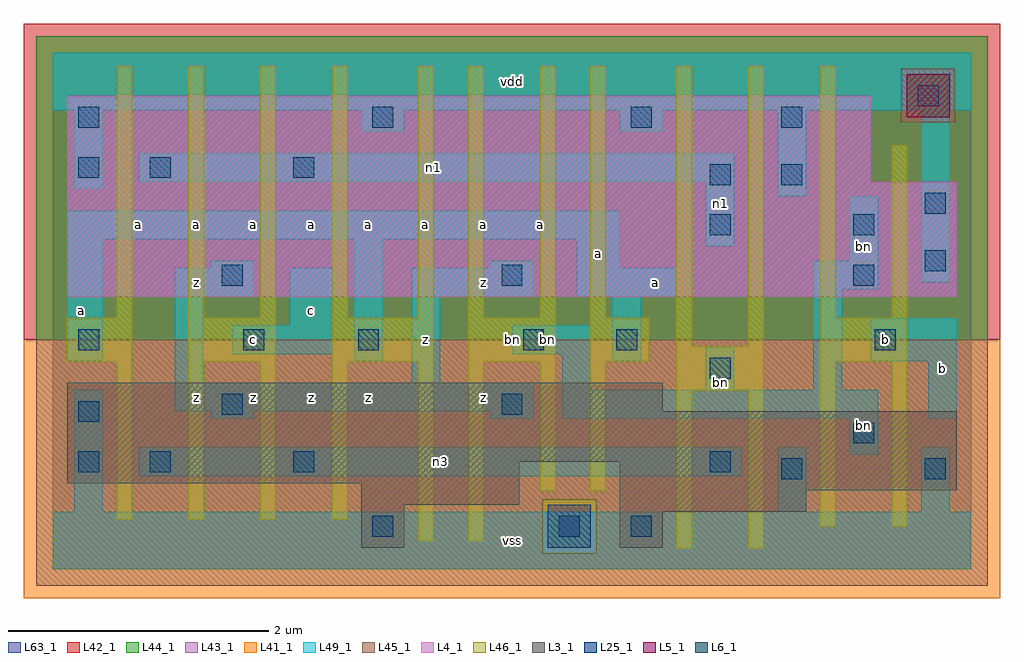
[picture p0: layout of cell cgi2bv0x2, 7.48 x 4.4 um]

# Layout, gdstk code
import gdstk
lib = gdstk.Library(unit=1e-6, precision=1e-09)
def R(c, l, rs):  # rectangles x0, y0, x1, y1
    for r in rs: c.add(gdstk.rectangle(r[:2], r[2:], *l))
def A(c, l, x, y, w, h, nx, ny, dx, dy):  # array of equal rectangles
    R(c, l, [(x+i*dx, y+j*dy, x+i*dx+w, y+j*dy+h) for i in range(nx) for j in range(ny)])
L3_1 = (3, 1)
L4_1 = (4, 1)
L5_1 = (5, 1)
L6_1 = (6, 1)
L25_1 = (25, 1)
L41_1 = (41, 1)
L42_1 = (42, 1)
L43_1 = (43, 1)
L44_1 = (44, 1)
L45_1 = (45, 1)
L46_1 = (46, 1)
L49_1 = (49, 1)
L63_1 = (63, 1)

cgi2bv0x2 = lib.new_cell('cgi2bv0x2')
R(cgi2bv0x2, L3_1, [(2.365,0.165,2.695,0.495), (4.345,0.165,4.675,0.44), (4.345,0.44,5.775,0.605), (2.365,0.495,3.575,0.66), (4.345,0.605,6.93,0.825), (0.11,0.66,3.575,0.825), (0.11,0.825,6.93,1.21), (0.11,1.21,4.675,1.43)])
R(cgi2bv0x2, L4_1, [(0.11,2.09,6.93,2.97), (0.11,2.97,6.27,3.63)])
R(cgi2bv0x2, L5_1, [(6.545,3.465,6.875,3.795)])
R(cgi2bv0x2, L6_1, [(3.795,0.165,4.125,0.495)])
R(cgi2bv0x2, L25_1, [(2.45,0.25,2.61,0.41), (3.88,0.25,4.04,0.41), (4.43,0.25,4.59,0.41), (5.585,0.69,5.745,0.85), (6.685,0.69,6.845,0.85), (0.195,0.745,0.355,0.905), (0.745,0.745,0.905,0.905), (1.845,0.745,2.005,0.905), (5.035,0.745,5.195,0.905), (6.135,0.965,6.295,1.125), (0.195,1.13,0.355,1.29), (1.295,1.185,1.455,1.345), (3.44,1.185,3.6,1.345), (5.035,1.46,5.195,1.62), (0.195,1.68,0.355,1.84), (1.46,1.68,1.62,1.84), (2.34,1.68,2.5,1.84), (3.605,1.68,3.765,1.84), (4.32,1.68,4.48,1.84), (6.3,1.68,6.46,1.84), (1.295,2.175,1.455,2.335), (3.44,2.175,3.6,2.335), (6.135,2.175,6.295,2.335), (6.685,2.285,6.845,2.445), (5.035,2.56,5.195,2.72), (6.135,2.56,6.295,2.72), (6.685,2.725,6.845,2.885), (5.035,2.945,5.195,3.105), (5.585,2.945,5.745,3.105), (0.195,3,0.355,3.16), (0.745,3,0.905,3.16), (1.845,3,2.005,3.16), (0.195,3.385,0.355,3.545), (2.45,3.385,2.61,3.545), (4.43,3.385,4.59,3.545), (5.585,3.385,5.745,3.545), (6.63,3.55,6.79,3.71)])
R(cgi2bv0x2, L41_1, [(-0.22,-0.22,7.26,1.76)])
R(cgi2bv0x2, L42_1, [(-0.22,1.76,7.26,4.18)])
R(cgi2bv0x2, L43_1, [(2.365,0.165,2.695,0.495), (3.795,0.165,4.125,0.495), (4.345,0.165,4.675,0.44), (4.345,0.44,5.775,0.605), (2.365,0.495,3.575,0.66), (4.345,0.605,6.93,0.825), (0.11,0.66,3.575,0.825), (0.11,0.825,6.93,1.21), (0.11,1.21,4.675,1.43), (0.11,2.09,6.93,2.97), (0.11,2.97,6.27,3.63), (6.545,3.465,6.875,3.795)])
R(cgi2bv0x2, L44_1, [(3.755,0.125,4.165,0.535), (-0.125,1.76,7.165,3.425), (-0.125,3.425,6.505,3.835), (6.915,3.425,7.165,3.835), (-0.125,3.835,7.165,4.085)])
R(cgi2bv0x2, L45_1, [(-0.125,-0.125,7.165,0.125), (-0.125,0.125,3.755,0.535), (4.165,0.125,7.165,0.535), (-0.125,0.535,7.165,1.76), (6.505,3.425,6.915,3.835)])
A(cgi2bv0x2, L46_1, 0.49, 0.38, 0.12, 1.21, 4, 1, 0.55, 0)
A(cgi2bv0x2, L46_1, 0.49, 1.93, 0.12, 1.925, 4, 1, 0.55, 0)
R(cgi2bv0x2, L46_1, [(4.78,0.16,4.9,1.37), (5.33,0.16,5.45,1.37), (2.8,0.215,2.92,1.59), (3.185,0.215,3.305,1.59), (5.88,0.325,6,1.59), (6.43,0.325,6.55,1.59), (3.735,0.6,3.855,1.59), (4.12,0.6,4.24,1.59), (4.78,1.37,5.45,1.71), (0.105,1.59,0.61,1.93), (1.04,1.59,1.71,1.93), (2.14,1.59,2.92,1.93), (3.185,1.59,3.855,1.93), (4.12,1.59,4.57,1.93), (5.88,1.59,6.55,1.93), (4.78,1.71,4.9,3.855), (5.33,1.71,5.45,3.855), (2.8,1.93,2.92,3.855), (3.185,1.93,3.305,3.855), (3.735,1.93,3.855,3.855), (4.12,1.93,4.24,3.855), (5.88,1.93,6,3.855), (6.43,1.93,6.55,3.25)])
R(cgi2bv0x2, L49_1, [(0,0,7.04,0.44), (0.165,0.44,0.385,1.375), (5.555,0.44,5.775,0.935), (6.655,0.44,6.875,0.935), (0.66,0.715,5.28,0.935), (6.105,0.88,6.325,1.155), (1.21,1.155,1.54,1.21), (3.355,1.155,3.685,1.21), (3.905,1.155,6.325,1.375), (6.71,1.155,6.93,1.595), (0.935,1.21,3.685,1.43), (3.905,1.375,4.125,1.65), (5.005,1.375,5.225,1.705), (5.83,1.375,6.05,2.145), (0.935,1.43,1.155,2.09), (2.75,1.43,2.97,2.09), (0.11,1.595,0.385,2.53), (2.31,1.595,2.53,2.53), (4.29,1.595,4.51,2.09), (6.27,1.595,6.93,1.925), (1.375,1.65,2.145,1.87), (3.52,1.65,4.125,1.87), (1.815,1.87,2.145,2.31), (0.935,2.09,1.54,2.31), (2.75,2.09,3.685,2.31), (4.015,2.09,4.785,2.31), (5.83,2.145,6.325,2.365), (6.655,2.2,6.875,3.52), (1.21,2.31,1.54,2.365), (3.355,2.31,3.685,2.365), (4.015,2.31,4.345,2.53), (6.105,2.365,6.325,2.86), (5.005,2.475,5.225,2.97), (0.11,2.53,4.345,2.75), (5.555,2.86,5.775,3.52), (0.165,2.915,0.385,3.52), (0.66,2.97,5.225,3.19), (2.365,3.355,2.695,3.52), (4.345,3.355,4.675,3.52), (0,3.52,7.04,3.96)])
R(cgi2bv0x2, L63_1, [(0,0,7.04,3.96)])
cgi2bv0x2.add(gdstk.Label('bn', (3.52,1.76), layer=46, texttype=1))
cgi2bv0x2.add(gdstk.Label('z', (1.1,1.32), layer=49, texttype=1))
cgi2bv0x2.add(gdstk.Label('z', (1.1,2.2), layer=49, texttype=1))
cgi2bv0x2.add(gdstk.Label('a', (0.22,1.98), layer=49, texttype=1))
cgi2bv0x2.add(gdstk.Label('a', (0.66,2.64), layer=49, texttype=1))
cgi2bv0x2.add(gdstk.Label('a', (1.1,2.64), layer=49, texttype=1))
cgi2bv0x2.add(gdstk.Label('z', (1.54,1.32), layer=49, texttype=1))
cgi2bv0x2.add(gdstk.Label('z', (1.98,1.32), layer=49, texttype=1))
cgi2bv0x2.add(gdstk.Label('z', (2.42,1.32), layer=49, texttype=1))
cgi2bv0x2.add(gdstk.Label('c', (1.54,1.76), layer=49, texttype=1))
cgi2bv0x2.add(gdstk.Label('c', (1.98,1.98), layer=49, texttype=1))
cgi2bv0x2.add(gdstk.Label('a', (1.54,2.64), layer=49, texttype=1))
cgi2bv0x2.add(gdstk.Label('a', (1.98,2.64), layer=49, texttype=1))
cgi2bv0x2.add(gdstk.Label('a', (2.42,2.64), layer=49, texttype=1))
cgi2bv0x2.add(gdstk.Label('vss', (3.52,0.22), layer=49, texttype=1))
cgi2bv0x2.add(gdstk.Label('z', (3.3,1.32), layer=49, texttype=1))
cgi2bv0x2.add(gdstk.Label('bn', (3.795,1.76), layer=49, texttype=1))
cgi2bv0x2.add(gdstk.Label('z', (2.86,1.76), layer=49, texttype=1))
cgi2bv0x2.add(gdstk.Label('z', (3.3,2.2), layer=49, texttype=1))
cgi2bv0x2.add(gdstk.Label('a', (2.86,2.64), layer=49, texttype=1))
cgi2bv0x2.add(gdstk.Label('a', (3.3,2.64), layer=49, texttype=1))
cgi2bv0x2.add(gdstk.Label('a', (3.74,2.64), layer=49, texttype=1))
cgi2bv0x2.add(gdstk.Label('vdd', (3.52,3.74), layer=49, texttype=1))
cgi2bv0x2.add(gdstk.Label('n3', (2.97,0.825), layer=49, texttype=1))
cgi2bv0x2.add(gdstk.Label('bn', (5.115,1.43), layer=49, texttype=1))
cgi2bv0x2.add(gdstk.Label('a', (4.62,2.2), layer=49, texttype=1))
cgi2bv0x2.add(gdstk.Label('a', (4.18,2.42), layer=49, texttype=1))
cgi2bv0x2.add(gdstk.Label('n1', (5.115,2.805), layer=49, texttype=1))
cgi2bv0x2.add(gdstk.Label('n1', (2.915,3.08), layer=49, texttype=1))
cgi2bv0x2.add(gdstk.Label('bn', (6.215,1.1), layer=49, texttype=1))
cgi2bv0x2.add(gdstk.Label('b', (6.38,1.76), layer=49, texttype=1))
cgi2bv0x2.add(gdstk.Label('b', (6.82,1.54), layer=49, texttype=1))
cgi2bv0x2.add(gdstk.Label('bn', (6.215,2.475), layer=49, texttype=1))

lib.write_gds('cgi2bv0x2.gds')
